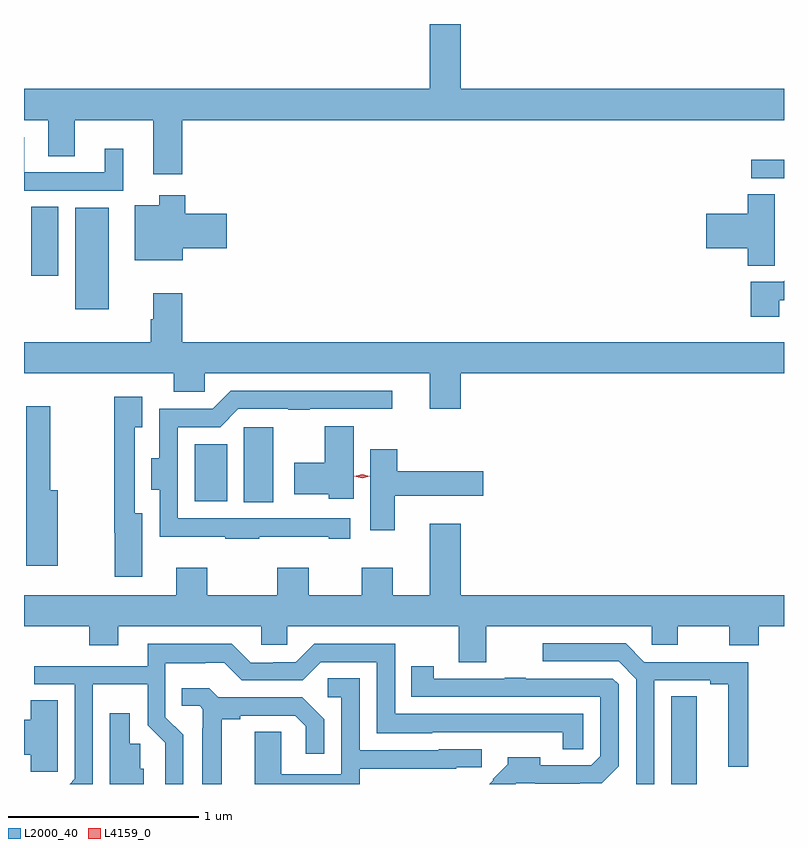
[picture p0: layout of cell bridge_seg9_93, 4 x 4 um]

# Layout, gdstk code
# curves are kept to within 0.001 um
import gdstk
lib = gdstk.Library(unit=1e-6, precision=1e-09)
def R(c, l, rs):  # rectangles x0, y0, x1, y1
    for r in rs: c.add(gdstk.rectangle(r[:2], r[2:], *l))
def P(c, l, *ps):  # polygons
    for p in ps: c.add(gdstk.Polygon(p, *l))
L2000_40 = (2000, 40)
L4159_0 = (4159, 0)

bridge_seg9_93 = lib.new_cell('bridge_seg9_93')
R(bridge_seg9_93, L2000_40, [(669.776,1216.902,669.91,1217.363), (667.526,1218.385,667.681,1218.78), (667.268,1218.389,667.438,1218.691), (666.638,1219.4,666.814,1219.936), (666.407,1219.578,666.55,1219.94), (670.197,1220.091,670.369,1220.187)])
P(bridge_seg9_93, L2000_40, [(667.202,1220.396),(670.369,1220.396),(670.369,1220.56),(668.668,1220.56),(668.668,1220.902),(668.504,1220.902),(668.504,1220.56),(666.369,1220.56),(666.369,1220.396),(666.497,1220.396),(666.497,1220.206),(666.637,1220.206),(666.637,1220.396),(667.049,1220.396),(667.049,1220.112),(667.202,1220.112)],
  [(666.892,1220.245),(666.794,1220.245),(666.794,1220.121),(666.37,1220.121),(666.37,1220.305),(666.369,1220.305),(666.369,1220.025),(666.892,1220.025)],
  [(670.32,1219.738),(670.321,1219.738),(670.321,1220.006),(670.178,1220.006),(670.178,1219.904),(669.96,1219.904),(669.96,1219.721),(670.178,1219.721),(670.178,1219.63),(670.32,1219.63)],
  [(667.204,1219.721),(667.435,1219.721),(667.435,1219.904),(667.217,1219.904),(667.217,1220.002),(667.082,1220.002),(667.082,1219.948),(666.953,1219.948),(666.953,1219.658),(667.204,1219.658)],
  [(670.345,1219.447),(670.369,1219.447),(670.369,1219.552),(670.362,1219.545),(670.193,1219.545),(670.193,1219.362),(670.345,1219.362)],
  [(668.668,1219.064),(670.369,1219.064),(670.369,1219.228),(667.202,1219.228),(667.202,1219.486),(667.049,1219.486),(667.049,1219.349),(667.037,1219.349),(667.037,1219.228),(666.369,1219.228),(666.369,1219.064),(667.157,1219.064),(667.157,1218.966),(667.32,1218.966),(667.32,1219.064),(668.504,1219.064),(668.504,1218.876),(668.668,1218.876)],
  [(667.607,1218.203),(667.973,1218.203),(667.973,1218.192),(668.086,1218.192),(668.086,1218.3),(667.179,1218.3),(667.179,1218.78),(667.401,1218.78),(667.497,1218.876),(667.759,1218.876),(667.759,1218.871),(667.874,1218.871),(667.874,1218.876),(668.308,1218.876),(668.308,1218.972),(667.458,1218.972),(667.362,1218.876),(667.082,1218.876),(667.082,1218.616),(667.04,1218.616),(667.04,1218.452),(667.083,1218.452),(667.083,1218.203),(667.429,1218.203),(667.429,1218.192),(667.607,1218.192)],
  [(666.991,1218.328),(666.951,1218.328),(666.951,1218.779),(666.991,1218.779),(666.991,1218.94),(666.843,1218.94),(666.843,1218.224),(666.847,1218.224),(666.847,1217.994),(666.991,1217.994)],
  [(666.546,1218.448),(666.507,1218.448),(666.507,1218.889),(666.38,1218.889),(666.38,1218.05),(666.546,1218.05)],
  [(668.104,1218.784),(667.952,1218.784),(667.952,1218.592),(667.791,1218.592),(667.791,1218.428),(667.974,1218.428),(667.974,1218.404),(668.104,1218.404)],
  [(668.32,1218.419),(668.785,1218.419),(668.785,1218.549),(668.333,1218.549),(668.333,1218.664),(668.192,1218.664),(668.192,1218.237),(668.32,1218.237)],
  [(668.803,1217.732),(669.672,1217.732),(669.672,1217.634),(669.811,1217.634),(669.811,1217.732),(670.082,1217.732),(670.082,1217.633),(670.235,1217.633),(670.235,1217.732),(670.369,1217.732),(670.369,1217.896),(668.668,1217.896),(668.668,1218.271),(668.504,1218.271),(668.504,1217.896),(668.311,1217.896),(668.311,1218.04),(668.147,1218.04),(668.147,1217.896),(667.867,1217.896),(667.867,1218.04),(667.703,1218.04),(667.703,1217.896),(667.333,1217.896),(667.333,1218.04),(667.169,1218.04),(667.169,1217.896),(666.369,1217.896),(666.369,1217.732),(666.713,1217.732),(666.713,1217.633),(666.865,1217.633),(666.865,1217.732),(667.617,1217.732),(667.617,1217.634),(667.755,1217.634),(667.755,1217.732),(668.656,1217.732),(668.656,1217.542),(668.803,1217.542)],
  [(669.687,1217.448),(669.98,1217.448),(669.98,1217.428),(670.076,1217.428),(670.076,1216.992),(670.18,1216.992),(670.18,1217.544),(669.634,1217.544),(669.535,1217.643),(669.099,1217.643),(669.099,1217.547),(669.498,1217.547),(669.591,1217.454),(669.591,1216.902),(669.687,1216.902)],
  [(666.732,1217.426),(667.02,1217.426),(667.02,1217.21),(667.112,1217.118),(667.112,1216.902),(667.206,1216.902),(667.206,1217.16),(667.113,1217.253),(667.113,1217.537),(667.322,1217.537),(667.322,1217.541),(667.422,1217.541),(667.515,1217.448),(667.836,1217.448),(667.932,1217.544),(668.226,1217.544),(668.226,1217.168),(668.517,1217.168),(668.517,1217.175),(669.204,1217.174),(669.204,1217.086),(669.312,1217.086),(669.312,1217.271),(668.322,1217.271),(668.322,1217.64),(667.896,1217.64),(667.8,1217.544),(667.68,1217.544),(667.68,1217.541),(667.563,1217.541),(667.463,1217.641),(667.019,1217.641),(667.019,1217.523),(666.423,1217.523),(666.423,1217.427),(666.636,1217.427),(666.636,1216.929),(666.609,1216.902),(666.732,1216.902)],
  [(668.959,1216.905),(669.293,1216.904),(669.293,1216.906),(669.409,1216.906),(669.498,1216.995),(669.498,1217.427),(669.468,1217.457),(669.011,1217.457),(669.011,1217.462),(668.899,1217.462),(668.899,1217.457),(668.526,1217.457),(668.526,1217.521),(668.407,1217.521),(668.407,1217.361),(669.402,1217.361),(669.402,1217.049),(669.354,1217.001),(669.085,1217.001),(669.085,1217.044),(668.914,1217.044),(668.914,1217.005),(668.835,1216.926),(668.838,1216.923),(668.817,1216.902),(668.956,1216.902)],
  [(668.137,1216.982),(668.643,1216.982),(668.643,1216.989),(668.778,1216.989),(668.778,1217.085),(668.553,1217.085),(668.553,1217.079),(668.136,1217.079),(668.136,1217.459),(667.968,1217.459),(667.968,1217.358),(668.04,1217.358),(668.04,1216.953),(667.722,1216.953),(667.722,1217.177),(667.583,1217.177),(667.583,1216.902),(668.137,1216.902)],
  [(667.411,1217.242),(667.507,1217.242),(667.507,1217.262),(667.796,1217.262),(667.853,1217.205),(667.853,1217.061),(667.95,1217.061),(667.95,1217.242),(667.834,1217.358),(667.392,1217.358),(667.344,1217.405),(667.198,1217.405),(667.198,1217.313),(667.293,1217.313),(667.311,1217.295),(667.311,1217.195),(667.307,1217.195),(667.307,1216.902),(667.411,1216.902)],
  [(666.546,1217.074),(666.547,1217.074),(666.547,1217.342),(666.404,1217.342),(666.404,1217.24),(666.369,1217.24),(666.369,1217.057),(666.404,1217.057),(666.404,1216.966),(666.546,1216.966)],
  [(667,1216.983),(666.981,1216.983),(666.981,1217.115),(666.925,1217.115),(666.925,1217.275),(666.821,1217.275),(666.821,1216.902),(667,1216.902)])
P(bridge_seg9_93, L4159_0, [(668.148,1218.511),(668.108,1218.521),(668.108,1218.521),(668.108,1218.522),(668.148,1218.531),(668.188,1218.522),(668.188,1218.521),(668.188,1218.521)])

lib.write_gds('bridge_seg9_93.gds')
